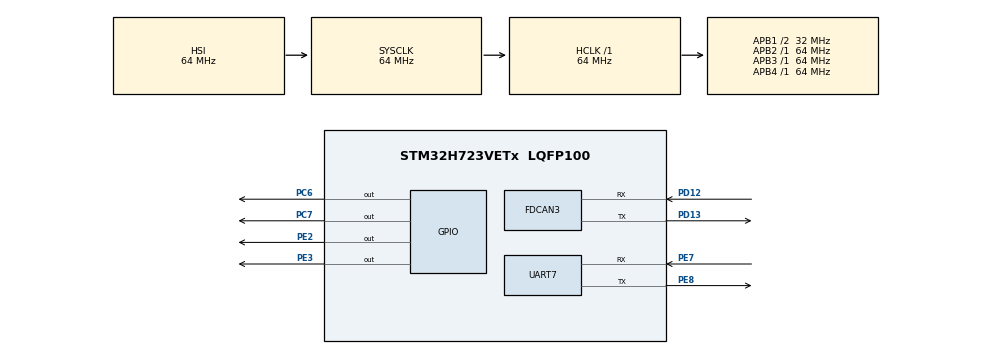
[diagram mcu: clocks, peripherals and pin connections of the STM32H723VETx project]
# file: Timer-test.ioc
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FDCAN3.AutoRetransmission=ENABLE
FDCAN3.CalculateBaudRateNominal=500000
FDCAN3.CalculateTimeBitNominal=2000
FDCAN3.CalculateTimeQuantumNominal=20.0
FDCAN3.DataPrescaler=4
FDCAN3.DataSyncJumpWidth=12
FDCAN3.DataTimeSeg1=12
FDCAN3.DataTimeSeg2=12
FDCAN3.NominalPrescaler=1
FDCAN3.NominalSyncJumpWidth=14
FDCAN3.NominalTimeSeg1=85
FDCAN3.NominalTimeSeg2=14
FDCAN3.ProtocolException=ENABLE
FDCAN3.RxFifo0ElmtsNbr=1
FDCAN3.StdFiltersNbr=1
FDCAN3.TxFifoQueueElmtsNbr=1
Mcu.Family=STM32H7
Mcu.Name=STM32H723VETx
Mcu.Package=LQFP100
NVIC.FDCAN3_IT0_IRQn=true\:0\:0\:false\:false\:true\:true\:true\:true
NVIC.PriorityGroup=NVIC_PRIORITYGROUP_4
NVIC.TIM2_IRQn=true\:0\:0\:false\:false\:true\:true\:true\:true
PC6.PinState=GPIO_PIN_SET
PC6.Signal=GPIO_Output
PC7.PinState=GPIO_PIN_SET
PC7.Signal=GPIO_Output
PD12.Mode=FDCAN_Activate
PD12.Signal=FDCAN3_RX
PD13.Mode=FDCAN_Activate
PD13.Signal=FDCAN3_TX
PE2.Signal=GPIO_Output
PE3.Signal=GPIO_Output
PE7.Mode=Asynchronous
PE7.Signal=UART7_RX
PE8.Mode=Asynchronous
PE8.Signal=UART7_TX
ProjectManager.HeapSize=0x200
ProjectManager.StackSize=0x400
ProjectManager.TargetToolchain=STM32CubeIDE
RCC.ADCFreq_Value=129000000
RCC.APB1Freq_Value=32000000
RCC.APB2Freq_Value=64000000
RCC.APB3Freq_Value=64000000
RCC.APB4Freq_Value=64000000
RCC.CortexFreq_Value=64000000
RCC.D2PPRE1=RCC_APB1_DIV2
RCC.DIVM1=4
RCC.DIVN1=12
RCC.DIVQ1=4
RCC.HCLKFreq_Value=64000000
RCC.PLL2FRACN=0
RCC.PLL3FRACN=0
RCC.PLLFRACN=4096
RCC.SYSCLKFreq_VALUE=64000000
RCC.USBFreq_Value=50000000
TIM2.Period=6400
TIM2.Prescaler=10
VP_TIM2_VS_ClockSourceINT.Mode=Internal
board=custom

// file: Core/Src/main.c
/* USER CODE BEGIN Header */
/**
  ******************************************************************************
  * @file           : main.c
  * @brief          : Main program body
  ******************************************************************************
  * @attention
  *
  * Copyright (c) 2023 STMicroelectronics.
  * All rights reserved.
  *
  * This software is licensed under terms that can be found in the LICENSE file
  * in the root directory of this software component.
  * If no LICENSE file comes with this software, it is provided AS-IS.
  *
  ******************************************************************************
  */
/* USER CODE END Header */
#include "main.h"

/* USER CODE BEGIN Includes */
#include "string.h"
#include "stdio.h"
#include "C_can.h"
#include "CanTp.h"
#include "CanTp_Cfg.h"
#include "ISOUDS_Server_Cfg.h"
#include "stm32h7xx_hal_flash.h"
/* USER CODE END Includes */

/* USER CODE BEGIN PM */
FDCAN_FilterTypeDef sFilterConfig;

FDCAN_TxHeaderTypeDef   TxHeader1;
FDCAN_RxHeaderTypeDef   RxHeader1;
FDCAN_TxHeaderTypeDef TxResponseHeader;
/* USER CODE END PM */

FDCAN_HandleTypeDef hfdcan3;

TIM_HandleTypeDef htim2;

UART_HandleTypeDef huart7;

/* USER CODE BEGIN PV */
volatile uint32_t milliseconds =0;
int flag =0;
volatile uint32_t* mappedAddress = (volatile uint32_t*)0x08007000;
/* USER CODE END PV */

void SystemClock_Config(void);
static void MX_GPIO_Init(void);
static void MX_FDCAN3_Init(void);
static void MX_UART7_Init(void);
static void MX_TIM2_Init(void);

/* USER CODE BEGIN 0 */
void HAL_FDCAN_RxFifo0Callback(FDCAN_HandleTypeDef *hfdcan, uint32_t RxFifo0ITs);

void task1()
{		//	HAL_GPIO_TogglePin(GPIOE, GPIO_PIN_3);
	if(flag ==0){
			HAL_GPIO_WritePin(GPIOE, GPIO_PIN_3,GPIO_PIN_SET);
			flag =1;
	}
	else{
		HAL_GPIO_WritePin(GPIOE, GPIO_PIN_3, GPIO_PIN_RESET);
		flag =0;
	}
			ISOTP_Main();
			ISOUDS_Main_Server();
//			HAL_Delay(5);

//			can_Tx();
}
void HAL_TIM_PeriodElapsedCallback(TIM_HandleTypeDef *htim2)
{
	if (htim2->Instance == TIM2) {
		milliseconds ++;

	}
	if(milliseconds %5 ==0)
		    {
		  		  task1();
		  	  }
}

void WriteDataToFlash(uint32_t flashAddress, const uint8_t *data, uint32_t dataSize) {
    // Unlock the Flash memory for write access
    HAL_FLASH_Unlock();

    // Erase the specified Flash sectors (you may need to adjust the sector number)
    FLASH_EraseInitTypeDef eraseInitStruct;
    eraseInitStruct.TypeErase = FLASH_TYPEERASE_SECTORS;
    eraseInitStruct.Sector = FLASH_SECTOR_5; // Adjust the sector number
    eraseInitStruct.NbSectors = 1;
    eraseInitStruct.VoltageRange = FLASH_VOLTAGE_RANGE_3;
    uint32_t sectorError = 0;
    HAL_FLASHEx_Erase(&eraseInitStruct, &sectorError);

    // Write the data to Flash memory
    for (uint32_t i = 0; i < dataSize; i += 4) {
        uint32_t dataWord = *(uint32_t*)&data[i];
        HAL_FLASH_Program(FLASH_TYPEPROGRAM_FLASHWORD, flashAddress + i, dataWord);
    }

    // Lock the Flash memory
    HAL_FLASH_Lock();
}

/* USER CODE END 0 */

int main(void)
{

  /* MCU Configuration--------------------------------------------------------*/

  /* Reset of all peripherals, Initializes the Flash interface and the Systick. */
	HAL_Init();

  /* USER CODE BEGIN Init */
  ISOTP_Init();
  ISOUDS_Server_Init();
  FCM_Init();

  /* USER CODE END Init */

  /* Configure the system clock */
  SystemClock_Config();

  /* Initialize all configured peripherals */
  MX_GPIO_Init();
  MX_FDCAN3_Init();
  MX_UART7_Init();
  MX_TIM2_Init();
  /* USER CODE BEGIN 2 */

  HAL_TIM_Base_Start_IT(&htim2);
  *mappedAddress = 55;
  uint8_t data[256];

  for (int i = 0; i < 256; i++) {
         data[i] = i +1; // Write values into the array (e.g., i * 2)
     }

  // Flash address where you want to write the data
  uint32_t flashAddress = *mappedAddress; // Adjust the address based on your Flash layout

  // Write the data to Flash
  WriteDataToFlash(flashAddress, data, sizeof(data));
  /* USER CODE END 2 */

  /* Infinite loop */
  while (1)
  {

  }
}

void SystemClock_Config(void)
{
  RCC_OscInitTypeDef RCC_OscInitStruct = {0};
  RCC_ClkInitTypeDef RCC_ClkInitStruct = {0};

  /** Supply configuration update enable
  */
  HAL_PWREx_ConfigSupply(PWR_LDO_SUPPLY);

  /** Configure the main internal regulator output voltage
  */
  __HAL_PWR_VOLTAGESCALING_CONFIG(PWR_REGULATOR_VOLTAGE_SCALE3);

  while(!__HAL_PWR_GET_FLAG(PWR_FLAG_VOSRDY)) {}

  /** Initializes the RCC Oscillators according to the specified parameters
  * in the RCC_OscInitTypeDef structure.
  */
  RCC_OscInitStruct.OscillatorType = RCC_OSCILLATORTYPE_HSI;
  RCC_OscInitStruct.HSIState = RCC_HSI_DIV1;
  RCC_OscInitStruct.HSICalibrationValue = 64;
  RCC_OscInitStruct.PLL.PLLState = RCC_PLL_ON;
  RCC_OscInitStruct.PLL.PLLSource = RCC_PLLSOURCE_HSI;
  RCC_OscInitStruct.PLL.PLLM = 4;
  RCC_OscInitStruct.PLL.PLLN = 12;
  RCC_OscInitStruct.PLL.PLLP = 2;
  RCC_OscInitStruct.PLL.PLLQ = 4;
  RCC_OscInitStruct.PLL.PLLR = 2;
  RCC_OscInitStruct.PLL.PLLRGE = RCC_PLL1VCIRANGE_3;
  RCC_OscInitStruct.PLL.PLLVCOSEL = RCC_PLL1VCOWIDE;
  RCC_OscInitStruct.PLL.PLLFRACN = 4096;
  if (HAL_RCC_OscConfig(&RCC_OscInitStruct) != HAL_OK)
  {
    Error_Handler();
  }

  /** Initializes the CPU, AHB and APB buses clocks
  */
  RCC_ClkInitStruct.ClockType = RCC_CLOCKTYPE_HCLK|RCC_CLOCKTYPE_SYSCLK
                              |RCC_CLOCKTYPE_PCLK1|RCC_CLOCKTYPE_PCLK2
                              |RCC_CLOCKTYPE_D3PCLK1|RCC_CLOCKTYPE_D1PCLK1;
  RCC_ClkInitStruct.SYSCLKSource = RCC_SYSCLKSOURCE_HSI;
  RCC_ClkInitStruct.SYSCLKDivider = RCC_SYSCLK_DIV1;
  RCC_ClkInitStruct.AHBCLKDivider = RCC_HCLK_DIV1;
  RCC_ClkInitStruct.APB3CLKDivider = RCC_APB3_DIV1;
  RCC_ClkInitStruct.APB1CLKDivider = RCC_APB1_DIV2;
  RCC_ClkInitStruct.APB2CLKDivider = RCC_APB2_DIV1;
  RCC_ClkInitStruct.APB4CLKDivider = RCC_APB4_DIV1;

  if (HAL_RCC_ClockConfig(&RCC_ClkInitStruct, FLASH_LATENCY_1) != HAL_OK)
  {
    Error_Handler();
  }
}

static void MX_FDCAN3_Init(void)
{

  hfdcan3.Instance = FDCAN3;
  hfdcan3.Init.FrameFormat = FDCAN_FRAME_CLASSIC;
  hfdcan3.Init.Mode = FDCAN_MODE_NORMAL;
  hfdcan3.Init.AutoRetransmission = ENABLE;
  hfdcan3.Init.TransmitPause = DISABLE;
  hfdcan3.Init.ProtocolException = ENABLE;
  hfdcan3.Init.NominalPrescaler = 1;
  hfdcan3.Init.NominalSyncJumpWidth = 14;
  hfdcan3.Init.NominalTimeSeg1 = 85;
  hfdcan3.Init.NominalTimeSeg2 = 14;
  hfdcan3.Init.DataPrescaler = 4;
  hfdcan3.Init.DataSyncJumpWidth = 12;
  hfdcan3.Init.DataTimeSeg1 = 12;
  hfdcan3.Init.DataTimeSeg2 = 12;
  hfdcan3.Init.MessageRAMOffset = 0;
  hfdcan3.Init.StdFiltersNbr = 1;
  hfdcan3.Init.ExtFiltersNbr = 0;
  hfdcan3.Init.RxFifo0ElmtsNbr = 1;
  hfdcan3.Init.RxFifo0ElmtSize = FDCAN_DATA_BYTES_8;
  hfdcan3.Init.RxFifo1ElmtsNbr = 0;
  hfdcan3.Init.RxFifo1ElmtSize = FDCAN_DATA_BYTES_8;
  hfdcan3.Init.RxBuffersNbr = 0;
  hfdcan3.Init.RxBufferSize = FDCAN_DATA_BYTES_8;
  hfdcan3.Init.TxEventsNbr = 0;
  hfdcan3.Init.TxBuffersNbr = 0;
  hfdcan3.Init.TxFifoQueueElmtsNbr = 1;
  hfdcan3.Init.TxFifoQueueMode = FDCAN_TX_FIFO_OPERATION;
  hfdcan3.Init.TxElmtSize = FDCAN_DATA_BYTES_8;
  if (HAL_FDCAN_Init(&hfdcan3) != HAL_OK)
  {
    Error_Handler();
  }
  /* USER CODE BEGIN FDCAN3_Init 2 */
  FDCAN_FilterTypeDef sFilterConfig;

  sFilterConfig.IdType = FDCAN_STANDARD_ID;
  sFilterConfig.FilterIndex = 0;
  sFilterConfig.FilterType = FDCAN_FILTER_MASK;
  sFilterConfig.FilterConfig = FDCAN_FILTER_TO_RXFIFO0;
  sFilterConfig.FilterID1 = 0x22;
  sFilterConfig.FilterID2 = 0x731;
  sFilterConfig.RxBufferIndex = 0;
  if (HAL_FDCAN_ConfigFilter(&hfdcan3, &sFilterConfig) != HAL_OK)
  {
    /* Filter configuration Error */
    Error_Handler();
  }
  if(HAL_FDCAN_Start(&hfdcan3)!= HAL_OK)
  {
   Error_Handler();
  }
  if (HAL_FDCAN_ActivateNotification(&hfdcan3, FDCAN_IT_RX_FIFO0_NEW_MESSAGE, 0) != HAL_OK)
   {
     /* Notification Error */
     Error_Handler();
   }

  // Configure TX Header for FDCAN1
  TxHeader1.Identifier = 0x11;
  TxHeader1.IdType = FDCAN_STANDARD_ID;
  TxHeader1.TxFrameType = FDCAN_DATA_FRAME;
  TxHeader1.DataLength = FDCAN_DLC_BYTES_8;
  TxHeader1.ErrorStateIndicator = FDCAN_ESI_ACTIVE;
  TxHeader1.BitRateSwitch = FDCAN_BRS_OFF;
  TxHeader1.FDFormat = FDCAN_CLASSIC_CAN;
  TxHeader1.TxEventFifoControl = FDCAN_NO_TX_EVENTS;
  TxHeader1.MessageMarker = 0;

  /* USER CODE END FDCAN3_Init 2 */

}

static void MX_TIM2_Init(void)
{

  TIM_ClockConfigTypeDef sClockSourceConfig = {0};
  TIM_MasterConfigTypeDef sMasterConfig = {0};

  htim2.Instance = TIM2;
  htim2.Init.Prescaler = 10;
  htim2.Init.CounterMode = TIM_COUNTERMODE_UP;
  htim2.Init.Period = 6400;
  htim2.Init.ClockDivision = TIM_CLOCKDIVISION_DIV1;
  htim2.Init.AutoReloadPreload = TIM_AUTORELOAD_PRELOAD_DISABLE;
  if (HAL_TIM_Base_Init(&htim2) != HAL_OK)
  {
    Error_Handler();
  }
  sClockSourceConfig.ClockSource = TIM_CLOCKSOURCE_INTERNAL;
  if (HAL_TIM_ConfigClockSource(&htim2, &sClockSourceConfig) != HAL_OK)
  {
    Error_Handler();
  }
  sMasterConfig.MasterOutputTrigger = TIM_TRGO_RESET;
  sMasterConfig.MasterSlaveMode = TIM_MASTERSLAVEMODE_DISABLE;
  if (HAL_TIMEx_MasterConfigSynchronization(&htim2, &sMasterConfig) != HAL_OK)
  {
    Error_Handler();
  }

}

static void MX_UART7_Init(void)
{

  huart7.Instance = UART7;
  huart7.Init.BaudRate = 115200;
  huart7.Init.WordLength = UART_WORDLENGTH_8B;
  huart7.Init.StopBits = UART_STOPBITS_1;
  huart7.Init.Parity = UART_PARITY_NONE;
  huart7.Init.Mode = UART_MODE_TX_RX;
  huart7.Init.HwFlowCtl = UART_HWCONTROL_NONE;
  huart7.Init.OverSampling = UART_OVERSAMPLING_16;
  huart7.Init.OneBitSampling = UART_ONE_BIT_SAMPLE_DISABLE;
  huart7.Init.ClockPrescaler = UART_PRESCALER_DIV1;
  huart7.AdvancedInit.AdvFeatureInit = UART_ADVFEATURE_NO_INIT;
  if (HAL_UART_Init(&huart7) != HAL_OK)
  {
    Error_Handler();
  }
  if (HAL_UARTEx_SetTxFifoThreshold(&huart7, UART_TXFIFO_THRESHOLD_1_8) != HAL_OK)
  {
    Error_Handler();
  }
  if (HAL_UARTEx_SetRxFifoThreshold(&huart7, UART_RXFIFO_THRESHOLD_1_8) != HAL_OK)
  {
    Error_Handler();
  }
  if (HAL_UARTEx_DisableFifoMode(&huart7) != HAL_OK)
  {
    Error_Handler();
  }

}

static void MX_GPIO_Init(void)
{
  GPIO_InitTypeDef GPIO_InitStruct = {0};

  /* GPIO Ports Clock Enable */
  __HAL_RCC_GPIOE_CLK_ENABLE();
  __HAL_RCC_GPIOD_CLK_ENABLE();
  __HAL_RCC_GPIOC_CLK_ENABLE();

  /*Configure GPIO pin Output Level */
  HAL_GPIO_WritePin(GPIOE, GPIO_PIN_2|GPIO_PIN_3, GPIO_PIN_RESET);

  /*Configure GPIO pin Output Level */
  HAL_GPIO_WritePin(GPIOC, GPIO_PIN_6|GPIO_PIN_7, GPIO_PIN_SET);

  /*Configure GPIO pins : PE2 PE3 */
  GPIO_InitStruct.Pin = GPIO_PIN_2|GPIO_PIN_3;
  GPIO_InitStruct.Mode = GPIO_MODE_OUTPUT_PP;
  GPIO_InitStruct.Pull = GPIO_NOPULL;
  GPIO_InitStruct.Speed = GPIO_SPEED_FREQ_LOW;
  HAL_GPIO_Init(GPIOE, &GPIO_InitStruct);

  /*Configure GPIO pins : PC6 PC7 */
  GPIO_InitStruct.Pin = GPIO_PIN_6|GPIO_PIN_7;
  GPIO_InitStruct.Mode = GPIO_MODE_OUTPUT_PP;
  GPIO_InitStruct.Pull = GPIO_NOPULL;
  GPIO_InitStruct.Speed = GPIO_SPEED_FREQ_LOW;
  HAL_GPIO_Init(GPIOC, &GPIO_InitStruct);

}

/* USER CODE BEGIN 4 */

// FDCAN1 Callback

/* USER CODE END 4 */

void Error_Handler(void)
{
  __disable_irq();
  while (1)
  {
  }
}
